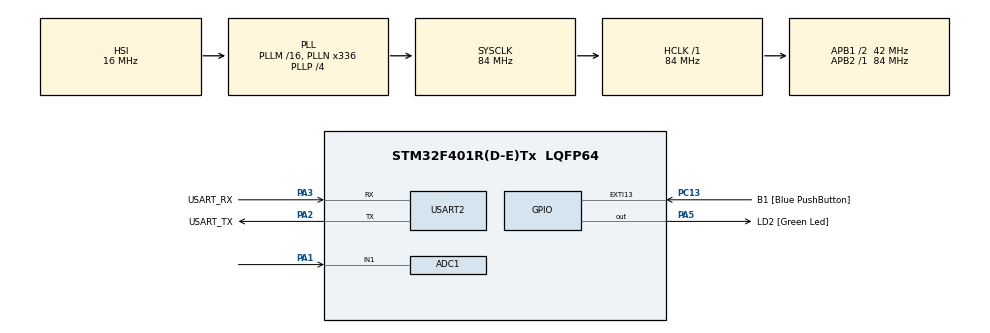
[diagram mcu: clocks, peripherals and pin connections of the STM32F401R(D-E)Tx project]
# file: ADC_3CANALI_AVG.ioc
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ADC1.Channel-0\#ChannelRegularConversion=ADC_CHANNEL_1
ADC1.Channel-1\#ChannelRegularConversion=ADC_CHANNEL_TEMPSENSOR
ADC1.Channel-2\#ChannelRegularConversion=ADC_CHANNEL_VREFINT
ADC1.DMAContinuousRequests=ENABLE
ADC1.ExternalTrigConv=ADC_EXTERNALTRIGCONV_T2_TRGO
ADC1.NbrOfConversion=3
ADC1.NbrOfConversionFlag=1
ADC1.Rank-0\#ChannelRegularConversion=1
ADC1.Rank-1\#ChannelRegularConversion=2
ADC1.Rank-2\#ChannelRegularConversion=3
ADC1.SamplingTime-0\#ChannelRegularConversion=ADC_SAMPLETIME_480CYCLES
ADC1.SamplingTime-1\#ChannelRegularConversion=ADC_SAMPLETIME_480CYCLES
ADC1.SamplingTime-2\#ChannelRegularConversion=ADC_SAMPLETIME_480CYCLES
ADC1.ScanConvMode=ENABLE
ADC1.master=1
Dma.ADC1.1.Direction=DMA_PERIPH_TO_MEMORY
Dma.ADC1.1.FIFOMode=DMA_FIFOMODE_DISABLE
Dma.ADC1.1.Instance=DMA2_Stream0
Dma.ADC1.1.MemDataAlignment=DMA_MDATAALIGN_HALFWORD
Dma.ADC1.1.MemInc=DMA_MINC_ENABLE
Dma.ADC1.1.Mode=DMA_CIRCULAR
Dma.ADC1.1.PeriphDataAlignment=DMA_PDATAALIGN_HALFWORD
Dma.ADC1.1.PeriphInc=DMA_PINC_DISABLE
Dma.ADC1.1.Priority=DMA_PRIORITY_HIGH
Dma.Request0=USART2_TX
Dma.Request1=ADC1
Dma.USART2_TX.0.Direction=DMA_MEMORY_TO_PERIPH
Dma.USART2_TX.0.FIFOMode=DMA_FIFOMODE_DISABLE
Dma.USART2_TX.0.Instance=DMA1_Stream6
Dma.USART2_TX.0.MemDataAlignment=DMA_MDATAALIGN_BYTE
Dma.USART2_TX.0.MemInc=DMA_MINC_ENABLE
Dma.USART2_TX.0.Mode=DMA_NORMAL
Dma.USART2_TX.0.PeriphDataAlignment=DMA_PDATAALIGN_BYTE
Dma.USART2_TX.0.PeriphInc=DMA_PINC_DISABLE
Dma.USART2_TX.0.Priority=DMA_PRIORITY_HIGH
Mcu.Family=STM32F4
Mcu.Name=STM32F401R(D-E)Tx
Mcu.Package=LQFP64
NVIC.DMA1_Stream6_IRQn=true\:0\:0\:false\:false\:true\:false\:true\:true
NVIC.DMA2_Stream0_IRQn=true\:0\:0\:false\:false\:true\:false\:true\:true
NVIC.PriorityGroup=NVIC_PRIORITYGROUP_4
NVIC.TIM2_IRQn=true\:0\:0\:false\:false\:true\:true\:true\:true
NVIC.USART2_IRQn=true\:0\:0\:false\:false\:true\:true\:true\:true
PA1.Signal=ADCx_IN1
PA13.GPIO_Label=TMS
PA13.Mode=Trace_Asynchronous_SW
PA13.Signal=SYS_JTMS-SWDIO
PA14.GPIO_Label=TCK
PA14.Mode=Trace_Asynchronous_SW
PA14.Signal=SYS_JTCK-SWCLK
PA2.GPIO_Label=USART_TX
PA2.GPIO_Mode=GPIO_MODE_AF_PP
PA2.GPIO_PuPd=GPIO_NOPULL
PA2.GPIO_Speed=GPIO_SPEED_FREQ_LOW
PA2.Mode=Asynchronous
PA2.Signal=USART2_TX
PA3.GPIO_Label=USART_RX
PA3.GPIO_Mode=GPIO_MODE_AF_PP
PA3.GPIO_PuPd=GPIO_NOPULL
PA3.GPIO_Speed=GPIO_SPEED_FREQ_LOW
PA3.Mode=Asynchronous
PA3.Signal=USART2_RX
PA5.GPIO_Label=LD2 [Green Led]
PA5.GPIO_Mode=GPIO_MODE_OUTPUT_PP
PA5.GPIO_PuPd=GPIO_NOPULL
PA5.GPIO_Speed=GPIO_SPEED_FREQ_LOW
PA5.Signal=GPIO_Output
PB3.GPIO_Label=SWO
PB3.Mode=Trace_Asynchronous_SW
PB3.Signal=SYS_JTDO-SWO
PC13-ANTI_TAMP.GPIO_Label=B1 [Blue PushButton]
PC13-ANTI_TAMP.GPIO_ModeDefaultEXTI=GPIO_MODE_IT_FALLING
PC13-ANTI_TAMP.GPIO_PuPd=GPIO_NOPULL
PC13-ANTI_TAMP.Signal=GPXTI13
PC14-OSC32_IN.Mode=LSE-External-Oscillator
PC14-OSC32_IN.Signal=RCC_OSC32_IN
PC15-OSC32_OUT.Mode=LSE-External-Oscillator
PC15-OSC32_OUT.Signal=RCC_OSC32_OUT
PH0\ -\ OSC_IN.Mode=HSE-External-Clock-Source
PH0\ -\ OSC_IN.Signal=RCC_OSC_IN
PH1\ -\ OSC_OUT.Mode=HSE-External-Clock-Source
PH1\ -\ OSC_OUT.Signal=RCC_OSC_OUT
ProjectManager.HeapSize=0x200
ProjectManager.StackSize=0x400
ProjectManager.TargetToolchain=STM32CubeIDE
RCC.48MHZClocksFreq_Value=48000000
RCC.AHBFreq_Value=84000000
RCC.APB1CLKDivider=RCC_HCLK_DIV2
RCC.APB1Freq_Value=42000000
RCC.APB1TimFreq_Value=84000000
RCC.APB2Freq_Value=84000000
RCC.APB2TimFreq_Value=84000000
RCC.CortexFreq_Value=84000000
RCC.HCLKFreq_Value=84000000
RCC.HSE_VALUE=8000000
RCC.HSI_VALUE=16000000
RCC.PLLN=336
RCC.PLLP=RCC_PLLP_DIV4
RCC.PLLQ=7
RCC.SYSCLKFreq_VALUE=84000000
RCC.SYSCLKSource=RCC_SYSCLKSOURCE_PLLCLK
RCC.VCOOutputFreq_Value=336000000
SH.ADCx_IN1.0=ADC1_IN1,IN1
TIM2.Period=839
TIM2.Prescaler=99
TIM2.TIM_MasterOutputTrigger=TIM_TRGO_UPDATE
USART2.VirtualMode=VM_ASYNC
VP_ADC1_TempSens_Input.Mode=IN-TempSens
VP_ADC1_Vref_Input.Mode=IN-Vrefint
VP_TIM2_VS_ClockSourceINT.Mode=Internal
board=NUCLEO-F401RE

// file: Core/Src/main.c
/* USER CODE BEGIN Header */
/**
  ******************************************************************************
  * @file           : main.c
  * @brief          : Main program body
  ******************************************************************************
  * @attention
  *
  * Copyright (c) 2026 STMicroelectronics.
  * All rights reserved.
  *
  * This software is licensed under terms that can be found in the LICENSE file
  * in the root directory of this software component.
  * If no LICENSE file comes with this software, it is provided AS-IS.
  *
  ******************************************************************************
  */
/* USER CODE END Header */
#include "main.h"

/* USER CODE BEGIN Includes */
#include "stdio.h"
#include "string.h"

/* USER CODE END Includes */

ADC_HandleTypeDef hadc1;
DMA_HandleTypeDef hdma_adc1;

TIM_HandleTypeDef htim2;

UART_HandleTypeDef huart2;
DMA_HandleTypeDef hdma_usart2_tx;

/* USER CODE BEGIN PV */
uint16_t adc_buf[3];
float v_pot = 0.0f;
volatile float sum_pot=0.0f;
float v_temp_sense = 0.0f;
float temperature = 0.0f;
volatile float sum_temperature=0.0f;
float v_refint = 0.0f;
volatile float sum_v_refint=0.0f;

volatile float avg_pot=0.0f;
volatile float avg_temperature=0.0f;
volatile float avg_v_refint=0.0f;

uint8_t tx_buf[64];
int len;

volatile int count=0;
volatile uint8_t send=0;

/* USER CODE END PV */

void SystemClock_Config(void);
static void MX_GPIO_Init(void);
static void MX_DMA_Init(void);
static void MX_USART2_UART_Init(void);
static void MX_ADC1_Init(void);
static void MX_TIM2_Init(void);

/* USER CODE BEGIN 0 */
void HAL_ADC_ConvCpltCallback(ADC_HandleTypeDef *hadc)
{
    // Il Trigger (Timer 2 a 1kHz) avvia la conversione ogni millisecondo
	// Quando arriva l'EoC aggiorniamo i valori
	v_pot = ((float)adc_buf[0] * 3.3f) / 4095.0f;
	sum_pot+=v_pot;

	v_temp_sense = ((float)adc_buf[1] * 3.3f) / 4095.0f;

	v_refint = ((float)adc_buf[2] * 3.3f) / 4095.0f;
	sum_v_refint+=v_refint;

	temperature = ((v_temp_sense - 0.76f) / 0.0025f) + 25.0f;
	// T = (Vsense-V25)/avg_slope + 25°C

	sum_temperature+=temperature;

	count+=1;
	if(count==1000){ // Ogni secondo
		avg_pot=(float)(sum_pot/1000.0f);
		avg_temperature=(float)(sum_temperature/1000.0f);
		avg_v_refint=(float)(sum_v_refint/1000.0f);

		sum_pot=0.0f;
		sum_temperature=0.0f;
		sum_v_refint=0.0f;

		send=1; // possiamo inviare nel while
		count=0;
	}
}

/* USER CODE END 0 */

int main(void)
{

  /* MCU Configuration--------------------------------------------------------*/

  /* Reset of all peripherals, Initializes the Flash interface and the Systick. */
  HAL_Init();

  /* Configure the system clock */
  SystemClock_Config();

  /* Initialize all configured peripherals */
  MX_GPIO_Init();
  MX_DMA_Init();
  MX_USART2_UART_Init();
  MX_ADC1_Init();
  MX_TIM2_Init();
  /* USER CODE BEGIN 2 */
  HAL_TIM_Base_Start(&htim2); // Timer 2 (Trigger ADC)
  HAL_ADC_Start_DMA(&hadc1, (uint32_t*)adc_buf, 3);   // ADC (DMA Mode), buffer da 3 campioni

  /* USER CODE END 2 */

  /* Infinite loop */
  while (1)
  {

    /* USER CODE BEGIN 3 */
	  if(send){ // Ogni secondo
		  send= 0;
		  len = sprintf((char*)tx_buf, "Pot: %.2fV  Temp: %.1fC  Vref: %.2fV\r\n", avg_pot, avg_temperature, avg_v_refint);
		  HAL_UART_Transmit_DMA(&huart2, tx_buf, len);
	  }
  }
  /* USER CODE END 3 */
}

void SystemClock_Config(void)
{
  RCC_OscInitTypeDef RCC_OscInitStruct = {0};
  RCC_ClkInitTypeDef RCC_ClkInitStruct = {0};

  /** Configure the main internal regulator output voltage
  */
  __HAL_RCC_PWR_CLK_ENABLE();
  __HAL_PWR_VOLTAGESCALING_CONFIG(PWR_REGULATOR_VOLTAGE_SCALE2);

  /** Initializes the RCC Oscillators according to the specified parameters
  * in the RCC_OscInitTypeDef structure.
  */
  RCC_OscInitStruct.OscillatorType = RCC_OSCILLATORTYPE_HSI;
  RCC_OscInitStruct.HSIState = RCC_HSI_ON;
  RCC_OscInitStruct.HSICalibrationValue = RCC_HSICALIBRATION_DEFAULT;
  RCC_OscInitStruct.PLL.PLLState = RCC_PLL_ON;
  RCC_OscInitStruct.PLL.PLLSource = RCC_PLLSOURCE_HSI;
  RCC_OscInitStruct.PLL.PLLM = 16;
  RCC_OscInitStruct.PLL.PLLN = 336;
  RCC_OscInitStruct.PLL.PLLP = RCC_PLLP_DIV4;
  RCC_OscInitStruct.PLL.PLLQ = 7;
  if (HAL_RCC_OscConfig(&RCC_OscInitStruct) != HAL_OK)
  {
    Error_Handler();
  }

  /** Initializes the CPU, AHB and APB buses clocks
  */
  RCC_ClkInitStruct.ClockType = RCC_CLOCKTYPE_HCLK|RCC_CLOCKTYPE_SYSCLK
                              |RCC_CLOCKTYPE_PCLK1|RCC_CLOCKTYPE_PCLK2;
  RCC_ClkInitStruct.SYSCLKSource = RCC_SYSCLKSOURCE_PLLCLK;
  RCC_ClkInitStruct.AHBCLKDivider = RCC_SYSCLK_DIV1;
  RCC_ClkInitStruct.APB1CLKDivider = RCC_HCLK_DIV2;
  RCC_ClkInitStruct.APB2CLKDivider = RCC_HCLK_DIV1;

  if (HAL_RCC_ClockConfig(&RCC_ClkInitStruct, FLASH_LATENCY_2) != HAL_OK)
  {
    Error_Handler();
  }
}

static void MX_ADC1_Init(void)
{

  ADC_ChannelConfTypeDef sConfig = {0};

  /** Configure the global features of the ADC (Clock, Resolution, Data Alignment and number of conversion)
  */
  hadc1.Instance = ADC1;
  hadc1.Init.ClockPrescaler = ADC_CLOCK_SYNC_PCLK_DIV4;
  hadc1.Init.Resolution = ADC_RESOLUTION_12B;
  hadc1.Init.ScanConvMode = ENABLE;
  hadc1.Init.ContinuousConvMode = DISABLE;
  hadc1.Init.DiscontinuousConvMode = DISABLE;
  hadc1.Init.ExternalTrigConvEdge = ADC_EXTERNALTRIGCONVEDGE_RISING;
  hadc1.Init.ExternalTrigConv = ADC_EXTERNALTRIGCONV_T2_TRGO;
  hadc1.Init.DataAlign = ADC_DATAALIGN_RIGHT;
  hadc1.Init.NbrOfConversion = 3;
  hadc1.Init.DMAContinuousRequests = ENABLE;
  hadc1.Init.EOCSelection = ADC_EOC_SINGLE_CONV;
  if (HAL_ADC_Init(&hadc1) != HAL_OK)
  {
    Error_Handler();
  }

  /** Configure for the selected ADC regular channel its corresponding rank in the sequencer and its sample time.
  */
  sConfig.Channel = ADC_CHANNEL_1;
  sConfig.Rank = 1;
  sConfig.SamplingTime = ADC_SAMPLETIME_480CYCLES;
  if (HAL_ADC_ConfigChannel(&hadc1, &sConfig) != HAL_OK)
  {
    Error_Handler();
  }

  /** Configure for the selected ADC regular channel its corresponding rank in the sequencer and its sample time.
  */
  sConfig.Channel = ADC_CHANNEL_TEMPSENSOR;
  sConfig.Rank = 2;
  if (HAL_ADC_ConfigChannel(&hadc1, &sConfig) != HAL_OK)
  {
    Error_Handler();
  }

  /** Configure for the selected ADC regular channel its corresponding rank in the sequencer and its sample time.
  */
  sConfig.Channel = ADC_CHANNEL_VREFINT;
  sConfig.Rank = 3;
  if (HAL_ADC_ConfigChannel(&hadc1, &sConfig) != HAL_OK)
  {
    Error_Handler();
  }

}

static void MX_TIM2_Init(void)
{

  TIM_ClockConfigTypeDef sClockSourceConfig = {0};
  TIM_MasterConfigTypeDef sMasterConfig = {0};

  htim2.Instance = TIM2;
  htim2.Init.Prescaler = 99;
  htim2.Init.CounterMode = TIM_COUNTERMODE_UP;
  htim2.Init.Period = 839;
  htim2.Init.ClockDivision = TIM_CLOCKDIVISION_DIV1;
  htim2.Init.AutoReloadPreload = TIM_AUTORELOAD_PRELOAD_DISABLE;
  if (HAL_TIM_Base_Init(&htim2) != HAL_OK)
  {
    Error_Handler();
  }
  sClockSourceConfig.ClockSource = TIM_CLOCKSOURCE_INTERNAL;
  if (HAL_TIM_ConfigClockSource(&htim2, &sClockSourceConfig) != HAL_OK)
  {
    Error_Handler();
  }
  sMasterConfig.MasterOutputTrigger = TIM_TRGO_UPDATE;
  sMasterConfig.MasterSlaveMode = TIM_MASTERSLAVEMODE_DISABLE;
  if (HAL_TIMEx_MasterConfigSynchronization(&htim2, &sMasterConfig) != HAL_OK)
  {
    Error_Handler();
  }

}

static void MX_USART2_UART_Init(void)
{

  huart2.Instance = USART2;
  huart2.Init.BaudRate = 115200;
  huart2.Init.WordLength = UART_WORDLENGTH_8B;
  huart2.Init.StopBits = UART_STOPBITS_1;
  huart2.Init.Parity = UART_PARITY_NONE;
  huart2.Init.Mode = UART_MODE_TX_RX;
  huart2.Init.HwFlowCtl = UART_HWCONTROL_NONE;
  huart2.Init.OverSampling = UART_OVERSAMPLING_16;
  if (HAL_UART_Init(&huart2) != HAL_OK)
  {
    Error_Handler();
  }

}

static void MX_DMA_Init(void)
{

  /* DMA controller clock enable */
  __HAL_RCC_DMA1_CLK_ENABLE();
  __HAL_RCC_DMA2_CLK_ENABLE();

  /* DMA interrupt init */
  /* DMA1_Stream6_IRQn interrupt configuration */
  HAL_NVIC_SetPriority(DMA1_Stream6_IRQn, 0, 0);
  HAL_NVIC_EnableIRQ(DMA1_Stream6_IRQn);
  /* DMA2_Stream0_IRQn interrupt configuration */
  HAL_NVIC_SetPriority(DMA2_Stream0_IRQn, 0, 0);
  HAL_NVIC_EnableIRQ(DMA2_Stream0_IRQn);

}

static void MX_GPIO_Init(void)
{
  GPIO_InitTypeDef GPIO_InitStruct = {0};

  /* GPIO Ports Clock Enable */
  __HAL_RCC_GPIOC_CLK_ENABLE();
  __HAL_RCC_GPIOH_CLK_ENABLE();
  __HAL_RCC_GPIOA_CLK_ENABLE();
  __HAL_RCC_GPIOB_CLK_ENABLE();

  /*Configure GPIO pin Output Level */
  HAL_GPIO_WritePin(LD2_GPIO_Port, LD2_Pin, GPIO_PIN_RESET);

  /*Configure GPIO pin : B1_Pin */
  GPIO_InitStruct.Pin = B1_Pin;
  GPIO_InitStruct.Mode = GPIO_MODE_IT_FALLING;
  GPIO_InitStruct.Pull = GPIO_NOPULL;
  HAL_GPIO_Init(B1_GPIO_Port, &GPIO_InitStruct);

  /*Configure GPIO pin : LD2_Pin */
  GPIO_InitStruct.Pin = LD2_Pin;
  GPIO_InitStruct.Mode = GPIO_MODE_OUTPUT_PP;
  GPIO_InitStruct.Pull = GPIO_NOPULL;
  GPIO_InitStruct.Speed = GPIO_SPEED_FREQ_LOW;
  HAL_GPIO_Init(LD2_GPIO_Port, &GPIO_InitStruct);

}

void Error_Handler(void)
{
  __disable_irq();
  while (1)
  {
  }
}
